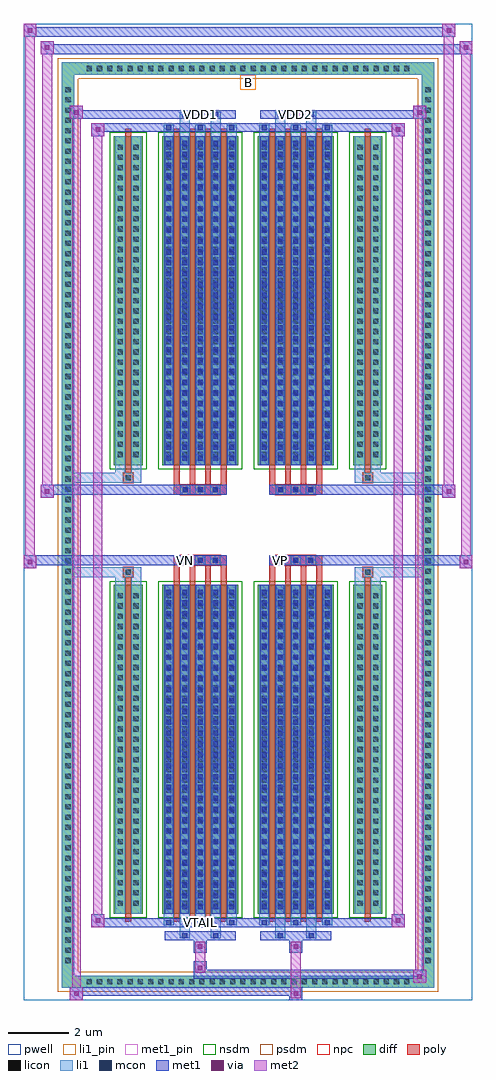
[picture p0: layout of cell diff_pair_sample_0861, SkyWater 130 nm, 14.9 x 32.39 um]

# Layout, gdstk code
import gdstk
lib = gdstk.Library(unit=1e-6, precision=5e-09)
def R(c, l, rs):  # rectangles x0, y0, x1, y1
    for r in rs: c.add(gdstk.rectangle(r[:2], r[2:], *l))
def A(c, l, x, y, w, h, nx, ny, dx, dy):  # array of equal rectangles
    R(c, l, [(x+i*dx, y+j*dy, x+i*dx+w, y+j*dy+h) for i in range(nx) for j in range(ny)])
def P(c, l, *ps):  # polygons
    for p in ps: c.add(gdstk.Polygon(p, *l))
pwell = (64, 44)
diff = (65, 20)
poly = (66, 20)
licon = (66, 44)
li1_pin = (67, 16)
li1 = (67, 20)
mcon = (67, 44)
met1_pin = (68, 16)
met1 = (68, 20)
via = (68, 44)
met2 = (69, 20)
nsdm = (93, 44)
psdm = (94, 20)
npc = (95, 20)

diff_pair_sample_0861 = lib.new_cell('diff_pair_sample_0861')
R(diff_pair_sample_0861, pwell, [(-7.45,-15.76,7.45,16.63), (-4.77,-13.95,-0.01,-0.805), (0.01,-13.95,4.77,-0.805), (-4.77,0.805,-0.01,13.95), (0.01,0.805,4.77,13.95)])
A(diff_pair_sample_0861, diff, -5.475, -15.36, 0.41, 0.41, 32, 2, 0.34, 30.31)
A(diff_pair_sample_0861, diff, -6.18, -14.655, 0.41, 0.41, 1, 86, 0, 0.34)
A(diff_pair_sample_0861, diff, 5.77, -14.655, 0.41, 0.41, 1, 86, 0, 0.34)
R(diff_pair_sample_0861, diff, [(-5.475,-15.36,5.475,-14.95), (-6.18,-14.655,-5.77,14.655), (5.77,-14.655,6.18,14.655), (-4.46,-12.905,-3.49,-1.985), (-2.85,-12.905,-0.32,-1.985), (0.32,-12.905,2.85,-1.985), (3.49,-12.905,4.46,-1.985), (-4.46,1.985,-3.49,12.905), (-2.85,1.985,-0.32,12.905), (0.32,1.985,2.85,12.905), (3.49,1.985,4.46,12.905), (-5.475,14.95,5.475,15.36)])
P(diff_pair_sample_0861, diff, [(6.18,15.36),(-6.18,15.36),(-6.18,-14.95),(-5.77,-14.95),(-5.77,14.95),(5.77,14.95),(5.77,-14.95),(-5.77,-14.95),(-6.18,-14.95),(-6.18,-15.36),(6.18,-15.36)])
A(diff_pair_sample_0861, poly, -2.46, -13.155, 0.19, 11.42, 4, 2, 0.52, 14.89)
A(diff_pair_sample_0861, poly, 0.71, -13.155, 0.19, 11.42, 4, 2, 0.52, 14.89)
A(diff_pair_sample_0861, poly, -2.46, -1.735, 0.19, 0.4, 4, 2, 0.52, 3.07)
A(diff_pair_sample_0861, poly, 0.71, -1.735, 0.19, 0.4, 4, 2, 0.52, 3.07)
A(diff_pair_sample_0861, poly, -2.25, -1.335, 0.33, 0.33, 3, 2, 0.5, 2.34)
A(diff_pair_sample_0861, poly, 0.92, -1.335, 0.33, 0.33, 3, 2, 0.5, 2.34)
R(diff_pair_sample_0861, poly, [(-4.07,-13.155,-3.88,-1.735), (3.88,-13.155,4.07,-1.735), (-4.14,-1.735,-3.81,-1.405), (-4.14,-1.735,-3.81,-1.405), (3.81,-1.735,4.14,-1.405), (3.81,-1.735,4.14,-1.405), (-2.46,-1.335,-0.71,-1.005), (0.71,-1.335,2.46,-1.005), (-2.46,1.005,-0.71,1.335), (0.71,1.005,2.46,1.335), (-4.14,1.405,-3.81,1.735), (-4.14,1.405,-3.81,1.735), (3.81,1.405,4.14,1.735), (3.81,1.405,4.14,1.735), (-4.07,1.735,-3.88,13.155), (3.88,1.735,4.07,13.155)])
A(diff_pair_sample_0861, licon, -5.355, -15.24, 0.17, 0.17, 32, 2, 0.34, 30.31)
A(diff_pair_sample_0861, licon, -6.06, -14.535, 0.17, 0.17, 1, 86, 0, 0.34)
A(diff_pair_sample_0861, licon, 5.89, -14.535, 0.17, 0.17, 1, 86, 0, 0.34)
A(diff_pair_sample_0861, licon, -4.32, -12.63, 0.17, 0.17, 1, 31, 0, 0.34)
A(diff_pair_sample_0861, licon, -3.8, -12.63, 0.17, 0.17, 1, 31, 0, 0.34)
A(diff_pair_sample_0861, licon, -2.71, -12.63, 0.17, 0.17, 5, 31, 0.52, 0.34)
A(diff_pair_sample_0861, licon, 0.46, -12.63, 0.17, 0.17, 5, 31, 0.52, 0.34)
A(diff_pair_sample_0861, licon, 3.63, -12.63, 0.17, 0.17, 1, 31, 0, 0.34)
A(diff_pair_sample_0861, licon, 4.15, -12.63, 0.17, 0.17, 1, 31, 0, 0.34)
A(diff_pair_sample_0861, licon, -2.17, -1.255, 0.17, 0.17, 3, 2, 0.5, 2.34)
A(diff_pair_sample_0861, licon, 1, -1.255, 0.17, 0.17, 3, 2, 0.5, 2.34)
A(diff_pair_sample_0861, licon, -4.32, 2.26, 0.17, 0.17, 1, 31, 0, 0.34)
A(diff_pair_sample_0861, licon, -3.8, 2.26, 0.17, 0.17, 1, 31, 0, 0.34)
A(diff_pair_sample_0861, licon, -2.71, 2.26, 0.17, 0.17, 5, 31, 0.52, 0.34)
A(diff_pair_sample_0861, licon, 0.46, 2.26, 0.17, 0.17, 5, 31, 0.52, 0.34)
A(diff_pair_sample_0861, licon, 3.63, 2.26, 0.17, 0.17, 1, 31, 0, 0.34)
A(diff_pair_sample_0861, licon, 4.15, 2.26, 0.17, 0.17, 1, 31, 0, 0.34)
R(diff_pair_sample_0861, licon, [(-4.06,-1.655,-3.89,-1.485), (3.89,-1.655,4.06,-1.485), (-4.06,1.485,-3.89,1.655), (3.89,1.485,4.06,1.655)])
R(diff_pair_sample_0861, li1_pin, [(-0.25,14.45,0.25,14.95)])
A(diff_pair_sample_0861, li1, -5.435, -15.32, 0.33, 0.33, 32, 2, 0.34, 30.31)
A(diff_pair_sample_0861, li1, -6.14, -14.615, 0.33, 0.33, 1, 86, 0, 0.34)
A(diff_pair_sample_0861, li1, 5.81, -14.615, 0.33, 0.33, 1, 86, 0, 0.34)
A(diff_pair_sample_0861, li1, -2.79, -13.28, 0.33, 0.375, 3, 2, 1.04, 26.185)
A(diff_pair_sample_0861, li1, -2.71, -13.28, 0.17, 0.17, 3, 2, 1.04, 26.39)
A(diff_pair_sample_0861, li1, 0.38, -13.28, 0.33, 0.375, 3, 2, 1.04, 26.185)
A(diff_pair_sample_0861, li1, 0.46, -13.28, 0.17, 0.17, 3, 2, 1.04, 26.39)
A(diff_pair_sample_0861, li1, -2.79, -12.905, 0.33, 10.92, 5, 2, 0.52, 14.89)
A(diff_pair_sample_0861, li1, 0.38, -12.905, 0.33, 10.92, 5, 2, 0.52, 14.89)
A(diff_pair_sample_0861, li1, -2.71, -12.75, 0.17, 0.17, 5, 30, 0.52, 0.36)
A(diff_pair_sample_0861, li1, -2.71, -12.75, 0.17, 10.61, 5, 2, 0.52, 14.89)
A(diff_pair_sample_0861, li1, 0.46, -12.75, 0.17, 0.17, 5, 30, 0.52, 0.36)
A(diff_pair_sample_0861, li1, 0.46, -12.75, 0.17, 10.61, 5, 2, 0.52, 14.89)
A(diff_pair_sample_0861, li1, -4.4, -12.71, 0.33, 0.33, 1, 31, 0, 0.34)
A(diff_pair_sample_0861, li1, -3.88, -12.71, 0.33, 0.33, 1, 31, 0, 0.34)
A(diff_pair_sample_0861, li1, -2.79, -12.71, 0.33, 0.33, 5, 31, 0.52, 0.34)
A(diff_pair_sample_0861, li1, 0.38, -12.71, 0.33, 0.33, 5, 31, 0.52, 0.34)
A(diff_pair_sample_0861, li1, 3.55, -12.71, 0.33, 0.33, 1, 31, 0, 0.34)
A(diff_pair_sample_0861, li1, 4.07, -12.71, 0.33, 0.33, 1, 31, 0, 0.34)
A(diff_pair_sample_0861, li1, -2.25, -1.335, 0.33, 0.33, 3, 2, 0.5, 2.34)
A(diff_pair_sample_0861, li1, 0.92, -1.335, 0.33, 0.33, 3, 2, 0.5, 2.34)
A(diff_pair_sample_0861, li1, -2.71, 2.14, 0.17, 0.17, 5, 30, 0.52, 0.36)
A(diff_pair_sample_0861, li1, 0.46, 2.14, 0.17, 0.17, 5, 30, 0.52, 0.36)
A(diff_pair_sample_0861, li1, -4.4, 2.18, 0.33, 0.33, 1, 31, 0, 0.34)
A(diff_pair_sample_0861, li1, -3.88, 2.18, 0.33, 0.33, 1, 31, 0, 0.34)
A(diff_pair_sample_0861, li1, -2.79, 2.18, 0.33, 0.33, 5, 31, 0.52, 0.34)
A(diff_pair_sample_0861, li1, 0.38, 2.18, 0.33, 0.33, 5, 31, 0.52, 0.34)
A(diff_pair_sample_0861, li1, 3.55, 2.18, 0.33, 0.33, 1, 31, 0, 0.34)
A(diff_pair_sample_0861, li1, 4.07, 2.18, 0.33, 0.33, 1, 31, 0, 0.34)
R(diff_pair_sample_0861, li1, [(-6.18,-15.36,-5.77,-14.95), (-6.18,-15.36,-5.77,-14.95), (-5.77,-15.36,5.77,-14.95), (5.77,-15.36,6.18,-14.95), (5.77,-15.36,6.18,-14.95), (-6.18,-14.95,-5.77,14.95), (5.77,-14.95,6.18,14.95), (-2.27,-13.71,-1.94,-12.905), (-2.19,-13.71,-2.02,-13.54), (-1.23,-13.71,-0.9,-12.905), (-1.15,-13.71,-0.98,-13.54), (0.9,-13.71,1.23,-12.905), (0.98,-13.71,1.15,-13.54), (1.94,-13.71,2.27,-12.905), (2.02,-13.71,2.19,-13.54), (-4.4,-12.905,-4.07,-1.985), (-3.88,-12.905,-3.55,-1.985), (3.55,-12.905,3.88,-1.985), (4.07,-12.905,4.4,-1.985), (-4.4,-1.985,-4.07,-1.405), (-3.88,-1.985,-3.55,-1.405), (3.55,-1.985,3.88,-1.405), (4.07,-1.985,4.4,-1.405), (-6.18,-1.735,-4.14,-1.405), (-4.4,-1.735,-4.14,-1.405), (-4.14,-1.735,-3.81,-1.405), (-3.81,-1.735,-3.55,-1.405), (3.55,-1.735,3.81,-1.405), (3.81,-1.735,4.14,-1.405), (3.81,-1.735,6.18,-1.405), (4.14,-1.735,4.4,-1.405), (-6.18,1.405,-4.14,1.735), (-4.4,1.405,-4.14,1.735), (-4.4,1.405,-4.07,1.985), (-4.14,1.405,-3.81,1.735), (-3.88,1.405,-3.55,1.985), (-3.81,1.405,-3.55,1.735), (3.55,1.405,3.81,1.735), (3.55,1.405,3.88,1.985), (3.81,1.405,4.14,1.735), (3.81,1.405,6.18,1.735), (4.07,1.405,4.4,1.985), (4.14,1.405,4.4,1.735), (-4.4,1.985,-4.07,12.905), (-3.88,1.985,-3.55,12.905), (3.55,1.985,3.88,12.905), (4.07,1.985,4.4,12.905), (-2.27,12.905,-1.94,13.71), (-1.23,12.905,-0.9,13.71), (0.9,12.905,1.23,13.71), (1.94,12.905,2.27,13.71), (-2.19,13.54,-2.02,13.71), (-1.15,13.54,-0.98,13.71), (0.98,13.54,1.15,13.71), (2.02,13.54,2.19,13.71), (-6.18,14.95,-5.77,15.36), (-6.18,14.95,-5.77,15.36), (-5.77,14.95,5.77,15.36), (5.77,14.95,6.18,15.36), (5.77,14.95,6.18,15.36)])
A(diff_pair_sample_0861, mcon, -2.71, -13.28, 0.17, 0.17, 3, 2, 1.04, 26.39)
A(diff_pair_sample_0861, mcon, 0.46, -13.28, 0.17, 0.17, 3, 2, 1.04, 26.39)
A(diff_pair_sample_0861, mcon, -2.71, -12.75, 0.17, 0.17, 5, 30, 0.52, 0.36)
A(diff_pair_sample_0861, mcon, 0.46, -12.75, 0.17, 0.17, 5, 30, 0.52, 0.36)
A(diff_pair_sample_0861, mcon, -2.17, -1.255, 0.17, 0.17, 3, 2, 0.5, 2.34)
A(diff_pair_sample_0861, mcon, 1, -1.255, 0.17, 0.17, 3, 2, 0.5, 2.34)
A(diff_pair_sample_0861, mcon, -2.71, 2.14, 0.17, 0.17, 5, 30, 0.52, 0.36)
A(diff_pair_sample_0861, mcon, 0.46, 2.14, 0.17, 0.17, 5, 30, 0.52, 0.36)
R(diff_pair_sample_0861, mcon, [(-2.19,-13.71,-2.02,-13.54), (-1.15,-13.71,-0.98,-13.54), (0.98,-13.71,1.15,-13.54), (2.02,-13.71,2.19,-13.54), (-2.19,13.54,-2.02,13.71), (-1.15,13.54,-0.98,13.71), (0.98,13.54,1.15,13.71), (2.02,13.54,2.19,13.71)])
R(diff_pair_sample_0861, met1_pin, [(-1.72,-13.32,-1.45,-13.05), (-2.22,-1.295,-1.95,-1.025), (0.95,-1.295,1.22,-1.025), (-1.72,13.5,-1.45,13.77), (1.45,13.5,1.72,13.77)])
A(diff_pair_sample_0861, met1, -2.77, -13.34, 0.29, 0.29, 3, 2, 1.04, 26.39)
A(diff_pair_sample_0861, met1, 0.4, -13.34, 0.29, 0.29, 3, 2, 1.04, 26.39)
A(diff_pair_sample_0861, met1, -2.77, -12.905, 0.29, 10.92, 5, 2, 0.52, 14.89)
A(diff_pair_sample_0861, met1, 0.4, -12.905, 0.29, 10.92, 5, 2, 0.52, 14.89)
A(diff_pair_sample_0861, met1, -2.77, -12.81, 0.29, 0.29, 5, 30, 0.52, 0.36)
A(diff_pair_sample_0861, met1, 0.4, -12.81, 0.29, 0.29, 5, 30, 0.52, 0.36)
A(diff_pair_sample_0861, met1, -2.23, -1.315, 0.29, 0.29, 3, 2, 0.5, 2.34)
A(diff_pair_sample_0861, met1, 0.94, -1.315, 0.29, 0.29, 3, 2, 0.5, 2.34)
A(diff_pair_sample_0861, met1, -2.77, 2.08, 0.29, 0.29, 5, 30, 0.52, 0.36)
A(diff_pair_sample_0861, met1, 0.4, 2.08, 0.29, 0.29, 5, 30, 0.52, 0.36)
R(diff_pair_sample_0861, met1, [(-5.91,-15.76,-5.48,-15.33), (1.37,-15.76,1.8,-15.33), (-5.91,-15.62,1.8,-15.33), (5.48,-15.19,5.91,-14.76), (-1.8,-15.05,5.91,-14.76), (-1.8,-14.91,-1.37,-14.48), (-1.8,-14.2,-1.37,-13.77), (1.37,-14.2,1.8,-13.77), (-2.77,-13.77,-0.4,-13.48), (-2.25,-13.77,-1.96,-13.48), (-1.21,-13.77,-0.92,-13.48), (0.4,-13.77,2.77,-13.48), (0.92,-13.77,1.21,-13.48), (1.96,-13.77,2.25,-13.48), (-5.2,-13.34,-4.77,-12.91), (-5.2,-13.34,-2.77,-13.05), (-2.77,-13.34,-0.4,-13.05), (-0.4,-13.34,0.4,-13.05), (0.4,-13.34,2.77,-13.05), (2.77,-13.34,5.2,-13.05), (4.77,-13.34,5.2,-12.91), (-7.45,-1.435,-7.02,-1.005), (7.02,-1.435,7.45,-1.005), (-7.45,-1.335,-0.71,-1.005), (-2.46,-1.335,-0.71,-1.005), (0.71,-1.335,2.46,-1.005), (0.71,-1.335,7.45,-1.005), (-6.88,0.905,-6.45,1.335), (6.45,0.905,6.88,1.335), (-6.88,1.005,-2.46,1.335), (-2.46,1.005,-0.71,1.335), (0.71,1.005,2.46,1.335), (2.46,1.005,6.88,1.335), (-5.2,12.91,-4.77,13.34), (4.77,12.91,5.2,13.34), (-5.2,13.05,-2.77,13.34), (-2.77,13.05,-0.4,13.34), (-0.4,13.05,0.4,13.34), (0.4,13.05,2.77,13.34), (2.77,13.05,5.2,13.34), (-5.91,13.48,-5.48,13.91), (-5.91,13.48,-2.77,13.77), (-2.77,13.48,-0.4,13.77), (-2.25,13.48,-1.96,13.77), (-1.21,13.48,-0.92,13.77), (0.4,13.48,2.77,13.77), (0.92,13.48,1.21,13.77), (1.96,13.48,2.25,13.77), (2.77,13.48,5.91,13.77), (5.48,13.48,5.91,13.91), (-6.88,15.63,-6.45,16.06), (-6.88,15.63,-4.77,15.96), (-4.77,15.63,4.77,15.96), (4.77,15.63,7.45,15.96), (7.02,15.63,7.45,16.06), (-7.45,16.2,-7.02,16.63), (-7.45,16.2,-4.77,16.53), (-4.77,16.2,4.77,16.53), (4.77,16.2,6.88,16.53), (6.45,16.2,6.88,16.63)])
R(diff_pair_sample_0861, via, [(-5.77,-15.62,-5.62,-15.47), (1.51,-15.62,1.66,-15.47), (5.62,-15.05,5.77,-14.9), (-1.66,-14.77,-1.51,-14.62), (-1.66,-14.06,-1.51,-13.91), (1.51,-14.06,1.66,-13.91), (-5.06,-13.2,-4.91,-13.05), (4.91,-13.2,5.06,-13.05), (-7.31,-1.295,-7.16,-1.145), (7.16,-1.295,7.31,-1.145), (-6.74,1.045,-6.59,1.195), (6.59,1.045,6.74,1.195), (-5.06,13.05,-4.91,13.2), (4.91,13.05,5.06,13.2), (-5.77,13.62,-5.62,13.77), (5.62,13.62,5.77,13.77), (-6.74,15.77,-6.59,15.92), (7.16,15.77,7.31,15.92), (-7.31,16.34,-7.16,16.49), (6.59,16.34,6.74,16.49)])
R(diff_pair_sample_0861, met2, [(-5.91,-15.76,-5.48,-15.33), (-5.84,-15.76,-5.55,13.91), (-5.55,-15.76,-5.48,-15.33), (-5.86,-15.71,-5.53,-15.38), (1.42,-15.71,1.75,-15.38), (1.42,-15.38,1.75,-14.15), (5.48,-15.19,5.91,-14.76), (5.55,-15.19,5.84,13.91), (5.84,-15.19,5.91,-14.76), (5.53,-15.14,5.86,-14.81), (-1.75,-14.86,-1.42,-14.53), (-1.75,-14.53,-1.42,-14.15), (-1.75,-14.15,-1.42,-13.82), (1.42,-14.15,1.75,-13.82), (-5.2,-13.34,-4.77,-12.91), (-5.13,-13.34,-4.84,13.34), (-4.84,-13.34,-4.77,-12.91), (4.77,-13.34,5.2,-12.91), (4.84,-13.34,5.13,13.34), (5.13,-13.34,5.2,-12.91), (-5.15,-13.29,-4.82,-12.96), (4.82,-13.29,5.15,-12.96), (-7.45,-1.435,-7.02,-1.005), (-7.4,-1.435,-7.07,16.63), (-7.07,-1.435,-7.02,-1.005), (7.02,-1.435,7.45,-1.005), (7.07,-1.435,7.4,16.06), (7.4,-1.435,7.45,-1.005), (-7.4,-1.385,-7.07,-1.055), (7.07,-1.385,7.4,-1.055), (-6.88,0.905,-6.45,1.335), (-6.83,0.905,-6.5,16.06), (-6.5,0.905,-6.45,1.335), (6.45,0.905,6.88,1.335), (6.5,0.905,6.83,16.63), (6.83,0.905,6.88,1.335), (-6.83,0.955,-6.5,1.285), (6.5,0.955,6.83,1.285), (-5.2,12.91,-4.77,13.34), (-4.84,12.91,-4.77,13.34), (4.77,12.91,5.2,13.34), (5.13,12.91,5.2,13.34), (-5.15,12.96,-4.82,13.29), (4.82,12.96,5.15,13.29), (-5.91,13.48,-5.48,13.91), (-5.55,13.48,-5.48,13.91), (5.48,13.48,5.91,13.91), (5.84,13.48,5.91,13.91), (-5.86,13.53,-5.53,13.86), (5.53,13.53,5.86,13.86), (-6.88,15.63,-6.45,16.06), (-6.5,15.63,-6.45,16.06), (7.02,15.63,7.45,16.06), (7.4,15.63,7.45,16.06), (-6.83,15.68,-6.5,16.01), (7.07,15.68,7.4,16.01), (-7.45,16.2,-7.02,16.63), (-7.07,16.2,-7.02,16.63), (6.45,16.2,6.88,16.63), (6.83,16.2,6.88,16.63), (-7.4,16.25,-7.07,16.58), (6.5,16.25,6.83,16.58)])
R(diff_pair_sample_0861, nsdm, [(-4.59,-13.035,-3.36,-1.855), (-2.98,-13.035,-0.19,-1.855), (0.19,-13.035,2.98,-1.855), (3.36,-13.035,4.59,-1.855), (-4.59,1.855,-3.36,13.035), (-2.98,1.855,-0.19,13.035), (0.19,1.855,2.98,13.035), (3.36,1.855,4.59,13.035)])
P(diff_pair_sample_0861, psdm, [(6.31,15.49),(-6.31,15.49),(-6.31,-14.82),(-5.64,-14.82),(-5.64,14.82),(5.64,14.82),(5.64,-14.82),(-5.64,-14.82),(-6.31,-14.82),(-6.31,-15.49),(6.31,-15.49)])
A(diff_pair_sample_0861, npc, -2.27, -1.355, 0.37, 0.37, 3, 2, 0.5, 2.34)
A(diff_pair_sample_0861, npc, 0.9, -1.355, 0.37, 0.37, 3, 2, 0.5, 2.34)
R(diff_pair_sample_0861, npc, [(-4.16,-1.755,-3.79,-1.385), (3.79,-1.755,4.16,-1.385), (-2.27,-1.355,-1.4,-0.985), (-2.27,-1.355,-1.4,-0.985), (-1.77,-1.355,-0.9,-0.985), (-1.77,-1.355,-0.9,-0.985), (0.9,-1.355,1.77,-0.985), (0.9,-1.355,1.77,-0.985), (1.4,-1.355,2.27,-0.985), (1.4,-1.355,2.27,-0.985), (-2.27,0.985,-1.4,1.355), (-2.27,0.985,-1.4,1.355), (-1.77,0.985,-0.9,1.355), (-1.77,0.985,-0.9,1.355), (0.9,0.985,1.77,1.355), (0.9,0.985,1.77,1.355), (1.4,0.985,2.27,1.355), (1.4,0.985,2.27,1.355), (-4.16,1.385,-3.79,1.755), (3.79,1.385,4.16,1.755)])
diff_pair_sample_0861.add(gdstk.Label('VTAIL', (-1.585,-13.185), layer=68, texttype=5))
diff_pair_sample_0861.add(gdstk.Label('VN', (-2.085,-1.16), layer=68, texttype=5))
diff_pair_sample_0861.add(gdstk.Label('VP', (1.085,-1.16), layer=68, texttype=5))
diff_pair_sample_0861.add(gdstk.Label('B', (0,14.7), layer=67, texttype=5))
diff_pair_sample_0861.add(gdstk.Label('VDD2', (1.585,13.635), layer=68, texttype=5))
diff_pair_sample_0861.add(gdstk.Label('VDD1', (-1.585,13.635), layer=68, texttype=5))

lib.write_gds('diff_pair_sample_0861.gds')
